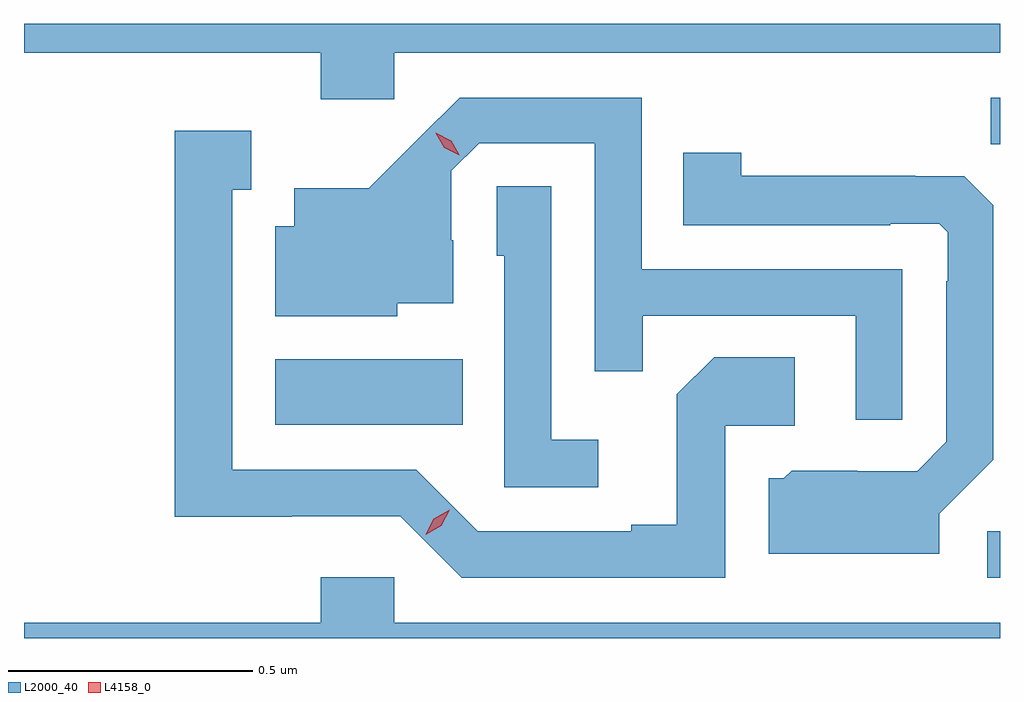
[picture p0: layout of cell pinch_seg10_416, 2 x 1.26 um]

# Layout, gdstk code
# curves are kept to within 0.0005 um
import gdstk
lib = gdstk.Library(unit=1e-6, precision=1e-09)
def R(c, l, rs):  # rectangles x0, y0, x1, y1
    for r in rs: c.add(gdstk.rectangle(r[:2], r[2:], *l))
def P(c, l, *ps):  # polygons
    for p in ps: c.add(gdstk.Polygon(p, *l))
L2000_40 = (2000, 40)
L4158_0 = (4158, 0)

pinch_seg10_416 = lib.new_cell('pinch_seg10_416')
R(pinch_seg10_416, L2000_40, [(618.129,1248.624,618.155,1248.72), (616.67,1248.938,617.054,1249.072), (618.136,1249.513,618.155,1249.608)])
P(pinch_seg10_416, L2000_40, [(616.914,1249.7),(618.155,1249.7),(618.155,1249.76),(616.155,1249.76),(616.155,1249.7),(616.763,1249.7),(616.763,1249.605),(616.914,1249.605)],
  [(617.955,1249.257),(617.421,1249.257),(617.421,1249.608),(617.048,1249.608),(616.861,1249.423),(616.709,1249.423),(616.709,1249.345),(616.67,1249.345),(616.67,1249.16),(616.92,1249.16),(616.92,1249.187),(617.035,1249.187),(617.035,1249.316),(617.031,1249.316),(617.031,1249.458),(617.088,1249.515),(617.325,1249.515),(617.325,1249.048),(617.423,1249.048),(617.423,1249.161),(617.859,1249.161),(617.859,1248.948),(617.955,1248.948)],
  [(617.592,1248.936),(617.734,1248.936),(617.734,1249.076),(617.569,1249.076),(617.493,1249),(617.493,1248.733),(617.399,1248.733),(617.399,1248.72),(617.085,1248.72),(616.959,1248.846),(616.582,1248.846),(616.582,1249.419),(616.621,1249.419),(616.621,1249.54),(616.464,1249.54),(616.464,1248.749),(616.704,1248.749),(616.704,1248.75),(616.926,1248.75),(617.052,1248.624),(617.592,1248.624)],
  [(618.031,1248.756),(618.141,1248.866),(618.141,1249.388),(618.082,1249.447),(617.981,1249.447),(617.981,1249.448),(617.625,1249.448),(617.625,1249.495),(617.506,1249.495),(617.506,1249.347),(617.93,1249.347),(617.93,1249.35),(618.03,1249.35),(618.048,1249.332),(618.048,1249.232),(618.045,1249.232),(618.045,1248.903),(617.985,1248.843),(617.862,1248.843),(617.862,1248.844),(617.728,1248.844),(617.712,1248.828),(617.681,1248.828),(617.681,1248.674),(618.031,1248.674)],
  [(617.332,1248.907),(617.235,1248.907),(617.235,1249.427),(617.124,1249.427),(617.124,1249.284),(617.139,1249.284),(617.139,1248.81),(617.332,1248.81)],
  [(618.155,1248.532),(616.914,1248.532),(616.914,1248.625),(616.763,1248.625),(616.763,1248.532),(616.155,1248.532),(616.155,1248.5),(618.155,1248.5)])
P(pinch_seg10_416, L4158_0, [(617.047,1249.49),(617.016,1249.506),(616.999,1249.535),(616.999,1249.536),(616.999,1249.536),(617.03,1249.52),(617.047,1249.491),(617.047,1249.49)],
  [(616.978,1248.712),(616.978,1248.713),(616.995,1248.745),(617.027,1248.764),(617.027,1248.764),(617.027,1248.764),(617.01,1248.731),(616.978,1248.712)])

lib.write_gds('pinch_seg10_416.gds')
